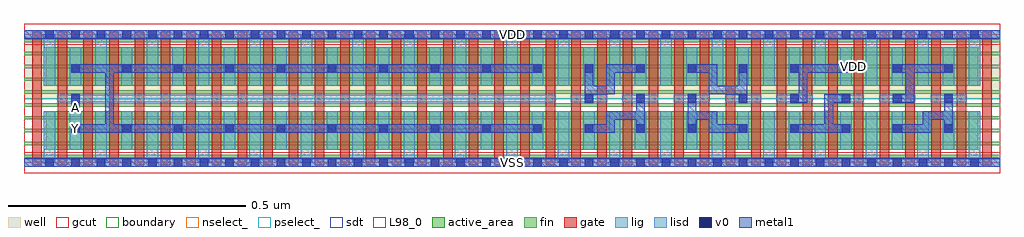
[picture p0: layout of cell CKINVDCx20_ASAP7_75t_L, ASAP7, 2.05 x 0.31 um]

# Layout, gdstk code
import gdstk
lib = gdstk.Library(unit=1e-6, precision=2.5e-10)
def R(c, l, rs):  # rectangles x0, y0, x1, y1
    for r in rs: c.add(gdstk.rectangle(r[:2], r[2:], *l))
def A(c, l, x, y, w, h, nx, ny, dx, dy):  # array of equal rectangles
    R(c, l, [(x+i*dx, y+j*dy, x+i*dx+w, y+j*dy+h) for i in range(nx) for j in range(ny)])
def P(c, l, *ps):  # polygons
    for p in ps: c.add(gdstk.Polygon(p, *l))
well = (1, 0)
fin = (2, 0)
gate = (7, 0)
gcut = (10, 0)
active_area = (11, 0)
nselect_ = (12, 0)
pselect_ = (13, 0)
lig = (16, 0)
lisd = (17, 0)
v0 = (18, 0)
metal1 = (19, 0)
sdt = (88, 0)
L98_0 = (98, 0)
boundary = (100, 0)

ckinvdcx20_asap7_75t_l = lib.new_cell('CKINVDCx20_ASAP7_75t_L')
R(ckinvdcx20_asap7_75t_l, well, [(0,0.135,2.052,0.27)])
A(ckinvdcx20_asap7_75t_l, fin, 0, 0.01, 2.052, 0.007, 1, 10, 0, 0.027)
A(ckinvdcx20_asap7_75t_l, gate, 0.017, -0.005, 0.02, 0.28, 38, 1, 0.054, 0)
R(ckinvdcx20_asap7_75t_l, gcut, [(0,-0.022,2.052,0.022), (0,0.248,2.052,0.292)])
R(ckinvdcx20_asap7_75t_l, active_area, [(0.046,0.027,2.006,0.108), (0.046,0.162,2.006,0.243)])
R(ckinvdcx20_asap7_75t_l, nselect_, [(0,0,2.052,0.135)])
R(ckinvdcx20_asap7_75t_l, pselect_, [(0,0.135,2.052,0.27)])
A(ckinvdcx20_asap7_75t_l, lig, 1.15, 0.127, 0.076, 0.016, 8, 1, 0.108, 0)
R(ckinvdcx20_asap7_75t_l, lig, [(0,-0.008,2.052,0.008), (0.07,0.127,1.118,0.143), (0,0.262,2.052,0.278)])
A(ckinvdcx20_asap7_75t_l, lisd, 0.042, 0, 0.024, 0.108, 19, 2, 0.108, 0.162)
A(ckinvdcx20_asap7_75t_l, lisd, 0.096, 0.027, 0.024, 0.081, 18, 2, 0.108, 0.135)
A(ckinvdcx20_asap7_75t_l, v0, 0.045, -0.009, 0.018, 0.018, 37, 2, 0.054, 0.27)
A(ckinvdcx20_asap7_75t_l, v0, 0.099, 0.063, 0.018, 0.018, 18, 2, 0.108, 0.126)
A(ckinvdcx20_asap7_75t_l, v0, 1.179, 0.126, 0.018, 0.018, 8, 1, 0.108, 0)
R(ckinvdcx20_asap7_75t_l, v0, [(0.099,0.126,0.117,0.144)])
R(ckinvdcx20_asap7_75t_l, metal1, [(0,-0.009,2.052,0.009), (0.099,0.108,0.117,0.144), (0,0.261,2.052,0.279)])
P(ckinvdcx20_asap7_75t_l, metal1, [(1.908,0.09),(1.935,0.09),(1.935,0.063),(1.953,0.063),(1.953,0.144),(1.935,0.144),(1.935,0.108),(1.89,0.108),(1.89,0.081),(1.827,0.081),(1.827,0.063),(1.908,0.063)],
  [(1.737,0.081),(1.701,0.081),(1.701,0.126),(1.737,0.126),(1.737,0.144),(1.683,0.144),(1.683,0.081),(1.611,0.081),(1.611,0.063),(1.737,0.063)],
  [(1.413,0.09),(1.44,0.09),(1.44,0.063),(1.521,0.063),(1.521,0.081),(1.458,0.081),(1.458,0.108),(1.413,0.108),(1.413,0.144),(1.395,0.144),(1.395,0.063),(1.413,0.063)],
  [(1.242,0.09),(1.287,0.09),(1.287,0.063),(1.305,0.063),(1.305,0.144),(1.287,0.144),(1.287,0.108),(1.224,0.108),(1.224,0.081),(1.179,0.081),(1.179,0.063),(1.242,0.063)],
  [(1.953,0.207),(1.827,0.207),(1.827,0.189),(1.854,0.189),(1.854,0.144),(1.827,0.144),(1.827,0.126),(1.872,0.126),(1.872,0.189),(1.953,0.189)],
  [(1.647,0.189),(1.737,0.189),(1.737,0.207),(1.611,0.207),(1.611,0.189),(1.629,0.189),(1.629,0.144),(1.611,0.144),(1.611,0.126),(1.647,0.126)],
  [(1.521,0.207),(1.503,0.207),(1.503,0.162),(1.458,0.162),(1.458,0.207),(1.395,0.207),(1.395,0.189),(1.44,0.189),(1.44,0.144),(1.503,0.144),(1.503,0.126),(1.521,0.126)],
  [(1.197,0.144),(1.242,0.144),(1.242,0.189),(1.305,0.189),(1.305,0.207),(1.224,0.207),(1.224,0.162),(1.197,0.162),(1.197,0.207),(1.179,0.207),(1.179,0.126),(1.197,0.126)],
  [(1.089,0.081),(0.189,0.081),(0.189,0.189),(1.089,0.189),(1.089,0.207),(0.099,0.207),(0.099,0.189),(0.171,0.189),(0.171,0.081),(0.099,0.081),(0.099,0.063),(1.089,0.063)])
A(ckinvdcx20_asap7_75t_l, sdt, 0.042, 0.027, 0.024, 0.081, 37, 2, 0.054, 0.135)
R(ckinvdcx20_asap7_75t_l, L98_0, [(0,0,2.052,0.27)])
R(ckinvdcx20_asap7_75t_l, boundary, [(0,0,2.052,0.27)])
ckinvdcx20_asap7_75t_l.add(gdstk.Label('Y', (0.108,0.072), layer=19, texttype=251))
ckinvdcx20_asap7_75t_l.add(gdstk.Label('A', (0.108,0.117), layer=19, texttype=251))
ckinvdcx20_asap7_75t_l.add(gdstk.Label('VSS', (1.026,0), layer=19, texttype=251))
ckinvdcx20_asap7_75t_l.add(gdstk.Label('VDD', (1.026,0.27), layer=19, texttype=251))
ckinvdcx20_asap7_75t_l.add(gdstk.Label('VDD', (1.7443,0.2025), layer=1, texttype=251))
ckinvdcx20_asap7_75t_l.add(gdstk.Label('VSS', (2.3598,0.2025), layer=3, texttype=251))

lib.write_gds('CKINVDCx20_ASAP7_75t_L.gds')
